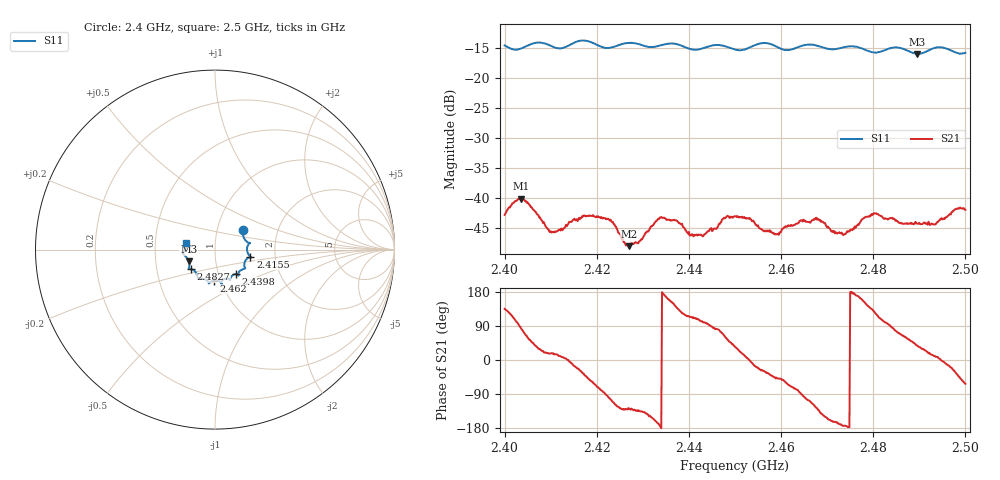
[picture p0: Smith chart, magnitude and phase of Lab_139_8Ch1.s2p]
# Hz S RI R 50
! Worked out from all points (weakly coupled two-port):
!   601 points, 2.4 GHz to 2.5 GHz, reference 50 ohm
!   highest |S21| = -40.09 dB at 2.4035 GHz (marker M1); lowest = -48.0 dB at 2.427 GHz (marker M2)
!   lowest |S11| = -15.9 dB at 2.4895 GHz (marker M3), VSWR 1.38, Z = 37 - j5.01 ohm
!   |S11| at or under -10 dB: start of sweep to end of sweep
!   S12 and S22 are empty: the file has one direction only
!   S11 on the Smith chart (normalised r, x): 2.4 GHz: 1.33, +0.29; 2.4155 GHz: 1.49, -0.12; 2.4398 GHz: 1.21, -0.34; 2.462 GHz: 0.93, -0.33; 2.4827 GHz: 0.75, -0.17; 2.5 GHz: 0.72, +0.06
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2.4e9  0.1554 0.1067  -0.00511 0.00515  0 0  0 0
2.4035e9  0.1694 0.0523  0.000931 0.00985  0 0  0 0
2.410167e9  0.1843 0.025  0.00492 0.00159  0 0  0 0
2.4155e9  0.1978 -0.0395  0.0062 -0.00214  0 0  0 0
2.416667e9  0.2027 -0.0428  0.0059 -0.00347  0 0  0 0
2.422667e9  0.1645 -0.0725  -0.00118 -0.00651  0 0  0 0
2.427e9  0.1687 -0.1038  -0.00249 -0.0031  0 0  0 0
2.433333e9  0.1295 -0.1343  -0.00656 -0.00145  0 0  0 0
2.437167e9  0.131 -0.1431  -0.00503 0.00413  0 0  0 0
2.439833e9  0.1152 -0.1359  -0.00215 0.00458  0 0  0 0
2.443167e9  0.0876 -0.1562  -0.000772 0.0048  0 0  0 0
2.45e9  0.0651 -0.1618  0.00581 0.00401  0 0  0 0
2.459e9  0.0311 -0.1816  0.00343 -0.00363  0 0  0 0
2.462e9  -0.0053 -0.1733  0.00211 -0.00546  0 0  0 0
2.466667e9  -0.0347 -0.1884  -0.00263 -0.00597  0 0  0 0
2.4735e9  -0.0854 -0.1602  -0.00488 -0.000521  0 0  0 0
2.480167e9  -0.1113 -0.1212  -0.00466 0.00588  0 0  0 0
2.482667e9  -0.1349 -0.1085  -0.00102 0.00671  0 0  0 0
2.483333e9  -0.14 -0.1081  -0.000477 0.0067  0 0  0 0
2.4895e9  -0.146 -0.066  0.00481 0.00382  0 0  0 0
2.494333e9  -0.1808 -0.0213  0.00649 0.000405  0 0  0 0
2.5e9  -0.1591 0.039  0.00365 -0.00712  0 0  0 0
